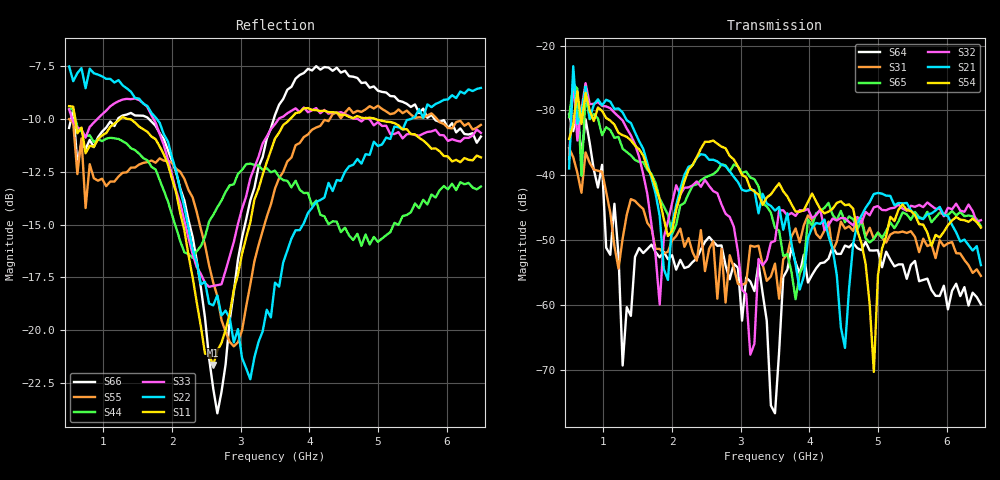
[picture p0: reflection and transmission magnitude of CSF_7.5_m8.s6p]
!Keysight Technologies,M9804A,MY58100912,A.14.10.03
!Date: Thursday, April 27, 2023 10:28:33
!Correction: S11(C  6-Port  )
!S12(C  6-Port  )
!S13(C  6-Port  )
!S14(C  6-Port  )
!S15(C  6-Port  )
!S16(C  6-Port  )
!S21(C  6-Port  )
!S22(C  6-Port  )
!S23(C  6-Port  )
!S24(C  6-Port  )
!S25(C  6-Port  )
!S26(C  6-Port  )
!S31(C  6-Port  )
!S32(C  6-Port  )
!S33(C  6-Port  )
!S34(C  6-Port  )
!S35(C  6-Port  )
!S36(C  6-Port  )
!S41(C  6-Port  )
!S42(C  6-Port  )
!S43(C  6-Port  )
!S44(C  6-Port  )
!S45(C  6-Port  )
!S46(C  6-Port  )
!S51(C  6-Port  )
!S52(C  6-Port  )
!S53(C  6-Port  )
!S54(C  6-Port  )
!S55(C  6-Port  )
!S56(C  6-Port  )
!S61(C  6-Port  )
!S62(C  6-Port  )
!S63(C  6-Port  )
!S64(C  6-Port  )
!S65(C  6-Port  )
!S66(C  6-Port  )
!S6P File: Measurement: :
# Hz S  RI  R 50
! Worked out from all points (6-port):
!   101 points, 500 MHz to 6.5 GHz, reference 50 ohm
!   strongest paths, dB at 500 MHz, 2 GHz, 3.5 GHz, 5 GHz, 6.5 GHz:
!     S54: -34.4, -48.5, -42.0, -55.4, -48.0
!     S21: -38.9, -47.5, -45.4, -42.7, -53.8
!     S32: -37.5, -44.3, -50.1, -44.7, -46.9
!     S65: -31.0, -49.0, -48.1, -48.8, -47.8
!     S31: -35.8, -50.0, -53.6, -48.8, -55.5
!     S64: -30.6, -52.3, -76.6, -51.5, -59.8
!   lowest |S11| = -21.7 dB at 2.6 GHz (marker M1), VSWR 1.18, Z = 42.6 + j2.03 ohm
!   |S11| at or under -10 dB: 587.9 MHz to 1.244 GHz (656.1 MHz wide, 71.6 % of centre); 1.37 GHz to 3.72 GHz (2.35 GHz wide, 92.3 % of centre); 4.965 GHz to end of sweep
